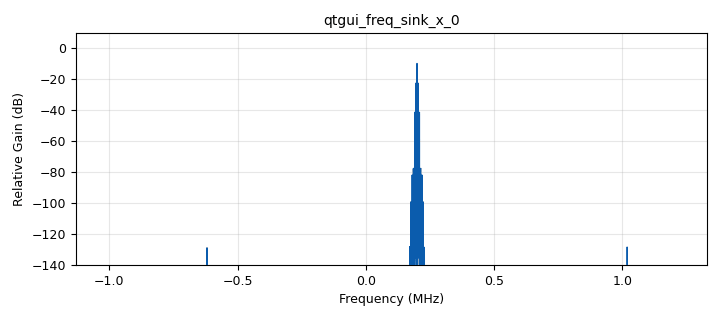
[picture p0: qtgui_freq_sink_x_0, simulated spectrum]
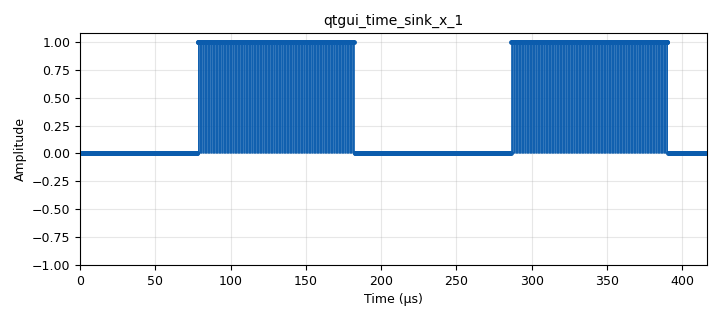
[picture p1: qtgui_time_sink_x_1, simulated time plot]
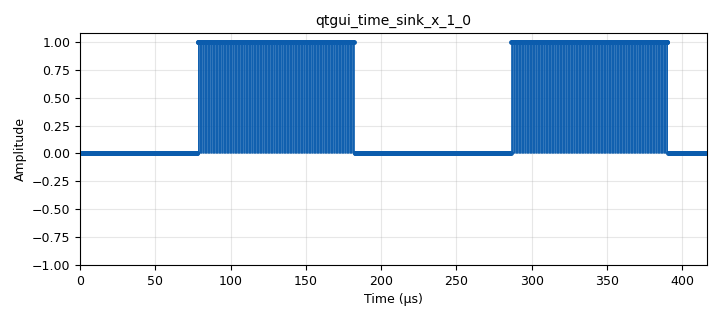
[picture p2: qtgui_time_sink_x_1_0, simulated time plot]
options:
  parameters:
    generate_options: qt_gui
    id: endurosat_e2e
    output_language: python
    title: Not titled yet
  states: {}

blocks:
- name: baud_bit
  id: variable
  parameters:
    value: '9600'
  states: {}
- name: baud_byte
  id: variable
  parameters:
    value: baud_bit/8
  states: {state: disabled}
- name: center_freq
  id: variable
  parameters:
    value: '100000'
  states: {}
- name: fsk_dev
  id: variable
  parameters:
    value: '2400'
  states: {}
- name: rx_gain
  id: variable
  parameters:
    value: '20'
  states: {state: disabled}
- name: samp_rate
  id: variable
  parameters:
    value: baud_bit*spsym
  states: {}
- name: sensitivity
  id: variable
  parameters:
    value: 2*math.pi*(fsk_dev/(baud_bit*spsym))
  states: {}
- name: spsym
  id: variable
  parameters:
    value: '256'
  states: {}
- name: tx_gain
  id: variable
  parameters:
    value: '1'
  states: {state: disabled}
- name: analog_sig_source_x_0
  id: analog_sig_source_x
  parameters:
    amp: '1'
    freq: '100000'
    offset: '0'
    phase: '0'
    samp_rate: samp_rate
    type: complex
    waveform: analog.GR_COS_WAVE
  states: {}
- name: blocks_char_to_float_0
  id: blocks_char_to_float
  parameters:
    scale: '1'
  states: {}
- name: blocks_char_to_float_0_0
  id: blocks_char_to_float
  parameters:
    scale: '1'
  states: {}
- name: blocks_multiply_xx_0
  id: blocks_multiply_xx
  parameters:
    type: complex
  states: {}
- name: blocks_repeat_1
  id: blocks_repeat
  parameters:
    interp: spsym
    type: float
  states: {}
- name: blocks_repeat_1_0
  id: blocks_repeat
  parameters:
    interp: spsym
    type: float
  states: {}
- name: blocks_unpack_k_bits_bb_0
  id: blocks_unpack_k_bits_bb
  parameters:
    k: '8'
  states: {}
- name: blocks_vector_source_x_0
  id: blocks_vector_source_x
  parameters:
    repeat: 'True'
    type: byte
    vector: (1,0,1,0,1,0,1,0,1,0,1,0,1,0,1,0,1,0,1,0,1,0,1,0,1,0,1,0,1,0,1,0,1,0,1,0,1,0,1,0,1,0,1,0,1,0,1,0,1,0,1,0,1,0,1,0,1,0,1,0,1,0,1,0,1,0,1,0,1,0,1,0,1,0,1,0,1,0,1,0,0,1,1,1,1,1,1,0,0,0,0,0,0,0,1,0,0,1,0,0,0,1,0,1,0,1,0,1,0,0,1,1,0,0,1,1,1,0,1,0,0,1,0,1,0,0,1,1)
  states: {state: disabled}
- name: blocks_vector_source_x_0_0
  id: blocks_vector_source_x
  parameters:
    repeat: 'True'
    type: byte
    vector: (0xaa,0xaa)
  states: {}
- name: digital_gfsk_demod_0
  id: digital_gfsk_demod
  parameters:
    freq_error: '0.0'
    gain_mu: '0.275'
    mu: '0.5'
    omega_relative_limit: '0.005'
    samples_per_symbol: spsym
    sensitivity: sensitivity
  states: {}
- name: digital_gfsk_mod_0
  id: digital_gfsk_mod
  parameters:
    bt: '0.5'
    samples_per_symbol: spsym
    sensitivity: sensitivity
  states: {}
- name: import_0
  id: import
  parameters:
    imports: import math
  states: {}
- name: qtgui_freq_sink_x_0
  id: qtgui_freq_sink_x
  parameters:
    bw: samp_rate
    ctrlpanel: 'True'
    fc: center_freq
    fftsize: '32768'
    type: complex
  states: {}
- name: qtgui_time_sink_x_0
  id: qtgui_time_sink_x
  parameters:
    autoscale: 'True'
    ctrlpanel: 'True'
    size: '1024'
    srate: samp_rate
    type: complex
    update_time: '1'
    ymax: '0.1'
    ymin: '-0.1'
  states: {state: disabled}
- name: qtgui_time_sink_x_1
  id: qtgui_time_sink_x
  parameters:
    ctrlpanel: 'True'
    size: '1024'
    srate: samp_rate
    stemplot: 'True'
    type: float
  states: {}
- name: qtgui_time_sink_x_1_0
  id: qtgui_time_sink_x
  parameters:
    ctrlpanel: 'True'
    size: '1024'
    srate: samp_rate
    stemplot: 'True'
    type: float
  states: {}

connections:
- [analog_sig_source_x_0, '0', blocks_multiply_xx_0, '1']
- [blocks_char_to_float_0, '0', blocks_repeat_1, '0']
- [blocks_char_to_float_0_0, '0', blocks_repeat_1_0, '0']
- [blocks_multiply_xx_0, '0', qtgui_freq_sink_x_0, '0']
- [blocks_repeat_1, '0', qtgui_time_sink_x_1, '0']
- [blocks_repeat_1_0, '0', qtgui_time_sink_x_1_0, '0']
- [blocks_unpack_k_bits_bb_0, '0', blocks_char_to_float_0, '0']
- [blocks_vector_source_x_0_0, '0', blocks_unpack_k_bits_bb_0, '0']
- [blocks_vector_source_x_0_0, '0', digital_gfsk_mod_0, '0']
- [digital_gfsk_demod_0, '0', blocks_char_to_float_0_0, '0']
- [digital_gfsk_mod_0, '0', blocks_multiply_xx_0, '0']
- [digital_gfsk_mod_0, '0', digital_gfsk_demod_0, '0']
- [digital_gfsk_mod_0, '0', qtgui_time_sink_x_0, '0']

metadata:
  file_format: 1
  grc_version: 3.9.7.0
